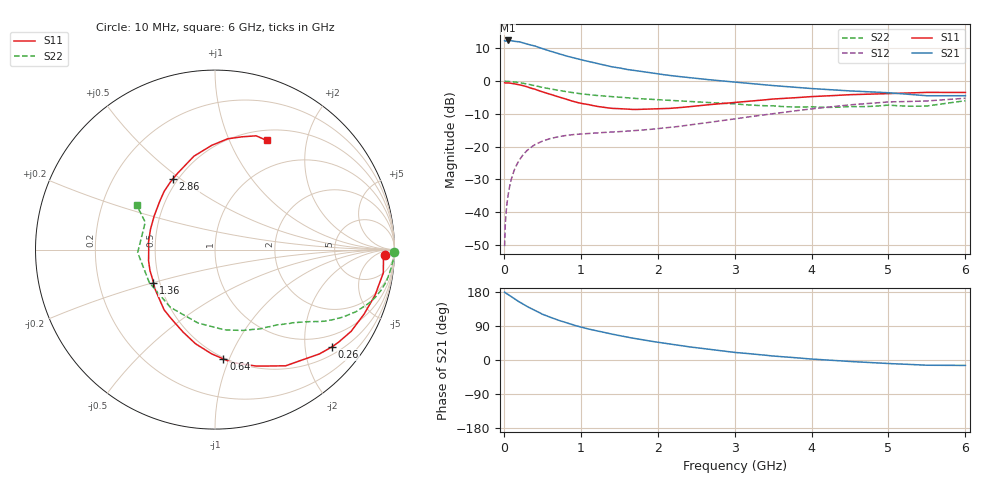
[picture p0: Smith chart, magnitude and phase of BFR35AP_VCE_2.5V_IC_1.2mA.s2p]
! Infineon Technologies  Discrete & RF Semiconductors
! BFR35AP
! VCE =  2.5 V,  IC =  1.2 mA
! Common Emitter S-Parameters:  Nov 2015
# GHz  S  MA  R  50
!  f  S11  S21  S12  S22
! GHz  MAG  ANG  MAG  ANG  MAG  ANG  MAG  ANG
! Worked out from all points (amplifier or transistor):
!   210 points, 10 MHz to 6 GHz, reference 50 ohm
!   highest |S21| = 12.5 dB at 50 MHz (marker M1)
!   |S21| within 3 dB of that: start of sweep to 566.8 MHz
!   unconditionally stable (mu >= 1): 1.339 GHz to 4.458 GHz; 4.573 GHz to 4.994 GHz; 5.001 GHz to end of sweep
!   at 185 MHz: K = 0.17, MSG = 18.4 dB, |S12| = -24.8 dB
!   at 1.52 GHz: K = 1.08, MAG = 7.9 dB, |S12| = -15.4 dB
!   at 6 GHz: K = 1.03, MAG = -0.7 dB, |S12| = -5.2 dB
!   S11 on the Smith chart (normalised r, x): 10 MHz: 28, -16; 260 MHz: 0.68, -2.62; 640 MHz: 0.49, -0.95; 1.36 GHz: 0.46, -0.20; 2.86 GHz: 0.47, +0.47; 6 GHz: 0.62, +1.39
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0.01  0.9475 -1.7  4.163 179.0  0.003 89.5  0.9997 -0.7
0.02  0.9401 -3.1  4.097 177.2  0.0068 85.5  0.9946 -1.4
0.05  0.9466 -7.9  4.196 173.4  0.0164 84.9  0.9938 -3.5
0.085  0.9311 -13.5  4.161 168.9  0.0277 81.4  0.9863 -5.9
0.13  0.9122 -20.3  4.085 162.5  0.0418 77.1  0.9758 -9.1
0.2  0.8846 -31.0  4.007 153.3  0.0617 70.8  0.9528 -13.7
0.26  0.8479 -39.7  3.824 146.0  0.0772 65.9  0.9254 -17.3
0.3  0.8223 -45.0  3.702 141.2  0.0868 63.2  0.9072 -19.3
0.4  0.7574 -58.8  3.468 131.1  0.1065 56.4  0.8571 -23.9
0.5  0.689 -70.4  3.155 120.9  0.1209 50.7  0.8056 -27.8
0.64  0.6112 -85.6  2.796 110.1  0.1358 44.8  0.7499 -31.7
0.8  0.5357 -101.7  2.453 98.8  0.1476 39.9  0.6958 -35.2
1.02  0.4548 -122.7  2.106 85.9  0.1563 36.2  0.6389 -39.1
1.2  0.4145 -138.7  1.879 77.0  0.1616 34.5  0.6066 -42.1
1.36  0.3897 -151.7  1.702 70.2  0.1658 34.1  0.5859 -44.6
1.62  0.3733 -172.2  1.501 59.6  0.1726 34.8  0.5563 -48.7
2.02  0.3774 161.0  1.285 46.1  0.1897 37.8  0.5201 -56.1
2.86  0.4572 121.1  1.004 23.7  0.2518 41.0  0.4576 -78.4
3.1  0.4828 113.3  0.945 18.4  0.2754 40.3  0.44 -87.0
4.1  0.5882 90.0  0.759 1.3  0.3882 32.2  0.4006 -132.9
5.1  0.6512 75.2  0.652 -10.1  0.4841 17.3  0.4228 177.6
6  0.673 64.6  0.6 -14.3  0.548 5.9  0.5024 150.4
